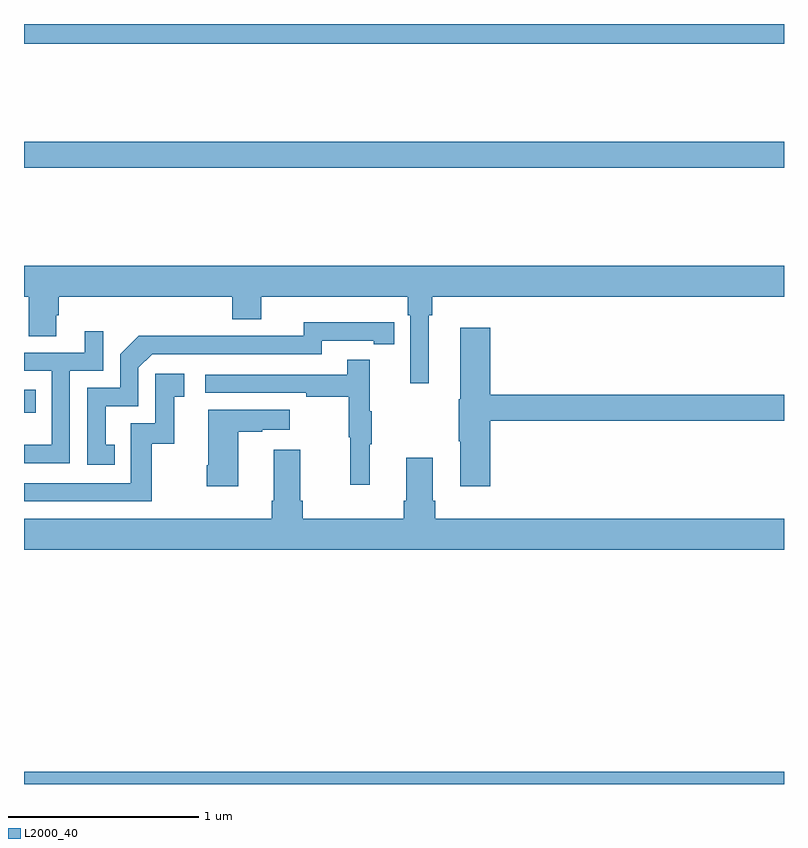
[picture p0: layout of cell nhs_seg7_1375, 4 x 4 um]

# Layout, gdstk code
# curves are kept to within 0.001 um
import gdstk
lib = gdstk.Library(unit=1e-6, precision=1e-09)
def R(c, l, rs):  # rectangles x0, y0, x1, y1
    for r in rs: c.add(gdstk.rectangle(r[:2], r[2:], *l))
def P(c, l, *ps):  # polygons
    for p in ps: c.add(gdstk.Polygon(p, *l))
L2000_40 = (2000, 40)

nhs_seg7_1375 = lib.new_cell('nhs_seg7_1375')
R(nhs_seg7_1375, L2000_40, [(205,1050,209,1050.064), (205,1051.953,205.061,1052.076), (205,1053.244,209,1053.38), (205,1053.896,209,1054)])
P(nhs_seg7_1375, L2000_40, [(207.13,1052.468),(207.149,1052.468),(207.149,1052.564),(209,1052.564),(209,1052.728),(205,1052.728),(205,1052.564),(205.024,1052.564),(205.024,1052.356),(205.171,1052.356),(205.171,1052.466),(205.184,1052.466),(205.184,1052.564),(206.096,1052.564),(206.096,1052.447),(206.248,1052.447),(206.248,1052.564),(207.02,1052.564),(207.02,1052.468),(207.033,1052.468),(207.033,1052.109),(207.13,1052.109)],
  [(205.478,1051.785),(205.429,1051.785),(205.429,1051.989),(205.602,1051.989),(205.602,1052.19),(205.674,1052.262),(206.568,1052.262),(206.568,1052.334),(206.84,1052.334),(206.84,1052.314),(206.948,1052.314),(206.948,1052.43),(206.472,1052.431),(206.472,1052.358),(206.012,1052.358),(206.012,1052.36),(205.604,1052.36),(205.506,1052.262),(205.506,1052.085),(205.332,1052.085),(205.332,1051.68),(205.478,1051.68)],
  [(207.455,1051.912),(209,1051.912),(209,1052.048),(207.455,1052.048),(207.455,1052.401),(207.296,1052.401),(207.296,1052.025),(207.289,1052.025),(207.289,1051.804),(207.296,1051.804),(207.296,1051.566),(207.455,1051.566)],
  [(205.242,1052.175),(205.416,1052.175),(205.416,1052.383),(205.319,1052.383),(205.319,1052.271),(205,1052.271),(205,1052.175),(205.146,1052.175),(205.146,1051.786),(205,1051.786),(205,1051.689),(205.242,1051.689)],
  [(206.819,1051.787),(206.83,1051.787),(206.83,1051.961),(206.819,1051.961),(206.819,1052.233),(206.701,1052.233),(206.701,1052.154),(205.953,1052.154),(205.953,1052.058),(206.485,1052.058),(206.485,1052.038),(206.709,1052.038),(206.709,1051.824),(206.716,1051.824),(206.716,1051.575),(206.819,1051.575)],
  [(205.672,1051.791),(205.79,1051.791),(205.79,1052.037),(205.843,1052.037),(205.843,1052.158),(205.692,1052.158),(205.692,1051.899),(205.563,1051.899),(205.563,1051.584),(205,1051.584),(205,1051.488),(205.672,1051.488)],
  [(206.128,1051.855),(206.255,1051.855),(206.255,1051.865),(206.398,1051.865),(206.398,1051.969),(205.97,1051.969),(205.97,1051.678),(205.963,1051.678),(205.963,1051.566),(206.128,1051.566)],
  [(209,1051.396),(207.164,1051.396),(207.164,1051.492),(207.151,1051.492),(207.151,1051.717),(207.011,1051.717),(207.011,1051.492),(206.999,1051.492),(206.999,1051.396),(206.468,1051.396),(206.468,1051.492),(206.455,1051.492),(206.455,1051.759),(206.315,1051.759),(206.315,1051.492),(206.303,1051.492),(206.303,1051.396),(205,1051.396),(205,1051.232),(209,1051.232)])

lib.write_gds('nhs_seg7_1375.gds')
